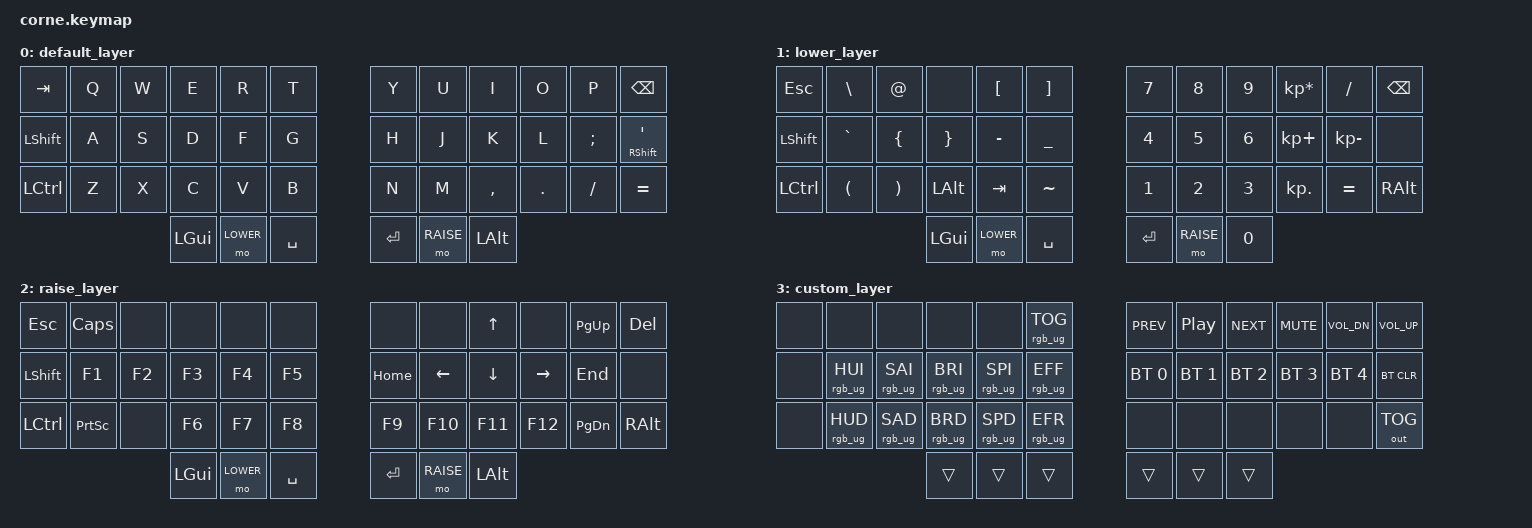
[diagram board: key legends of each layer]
/*
 * Copyright (c) 2020 The ZMK Contributors
 *
 * SPDX-License-Identifier: MIT
 */

#include <behaviors.dtsi>
#include <dt-bindings/zmk/keys.h>
#include <dt-bindings/zmk/bt.h>
#include <dt-bindings/zmk/rgb.h>
#include <dt-bindings/zmk/outputs.h>

#define DEFAULT 0
#define LOWER   1
#define RAISE   2
#define CUSTOM  3

&mt {
        tapping-term-ms = <120>;
};

&led_strip {
        chain-length = <27>;
};

/ {
        conditional_layers {
                compatible = "zmk,conditional-layers";
                custom_layer {
                        if-layers = <LOWER RAISE>;
                        then-layer = <CUSTOM>;
                };
        };

        keymap {
                compatible = "zmk,keymap";

                default_layer {
                        /*
 /* QWERTY
 * ,-----------------------------------------.                    ,-----------------------------------------.
 * | Tab  |   Q  |   W  |   E  |   R  |   T  |                    |   Y  |   U  |   I  |   O  |   P  |BackSP|
 * |------+------+------+------+------+------|                    |------+------+------+------+------+------|
 * |LShift|   A  |   S  |   D  |   F  |   G  |                    |   H  |   J  |   K  |   L  |   ;  |   ´  |
 * |------+------+------+------+------+------|                    |------+------+------+------+------+------|
 * |LCTRL |   Z  |   X  |   C  |   V  |   B  |--------.   .-------|   N  |   M  |   ,  |   .  |   /  |  +=  |
 * `-----------------------------------------/       /     \      \-----------------------------------------'
 *                          | LGUI |LOWER | /Space  /       \Enter \  |RAISE | LAlt |
 *                          |      |      |/       /         \      \ |      |      |
 *                          `---------------------'           '------''-------------'
 */
                        bindings = <
   &kp TAB   &kp Q &kp W &kp E &kp R &kp T      &kp Y &kp U  &kp I     &kp O   &kp P    &kp BSPC
   &kp LSHFT &kp A &kp S &kp D &kp F &kp G      &kp H &kp J  &kp K     &kp L   &kp SEMI &mt RSHIFT SQT
   &kp LCTRL &kp Z &kp X &kp C &kp V &kp B      &kp N &kp M  &kp COMMA &kp DOT &kp FSLH &kp EQUAL
                &kp LGUI &mo LOWER &kp SPACE   &kp RET &mo RAISE &kp LALT
                        >;
                };
                lower_layer {
/* LOWER
 * ,-----------------------------------------.                    ,-----------------------------------------.
 * | ESC  |  \   |   @  |      |  [{  |  }]  |                    |  7&  |  8*  |  9(  |   *  |   /  |BackSP|
 * |------+------+------+------+------+------|                    |------+------+------+------+------+------|
 * |LShift|  `   |   {  |  }   |   -  |   _  |                    |  4$  |  5%  |  6^  |   +  |   -  |      |
 * |------+------+------+------+------+------|                    |------+------+------+------+------+------|
 * |LCTRL |  (   |   )  | LALT |  TAB |   ~  |--------.    .------|   1! |  2@  |  3#  |   .  |   =  | RALT |
 * `-----------------------------------------/       /     \      \-----------------------------------------'
 *                          | LGUI |LOWER | /Space  /       \Enter \  |RAISE |  0)   |
 *                          |      |      |/       /         \      \ |      |       |
 *                          `---------------------'           '------''--------------'
 */
                        bindings = <
   &kp ESC    &kp BSLH   &kp AT         &none            &kp LBKT     &kp RBKT                   &kp N7   &kp N8   &kp N9  &kp KP_ASTERISK &kp FSLH     &kp BSPC
   &kp LSHFT  &kp GRAVE  &kp LEFT_BRACE &kp RIGHT_BRACE  &kp MINUS    &kp UNDER                  &kp N4   &kp N5   &kp N6  &kp KP_PLUS     &kp KP_MINUS &none
   &kp LCTRL  &kp LPAR   &kp RPAR       &kp LALT         &kp TAB      &kp TILDE                  &kp N1   &kp N2   &kp N3  &kp KP_DOT      &kp EQUAL    &kp RALT
                                         &kp LGUI &mo LOWER &kp SPACE      &kp RET &mo RAISE &kp N0
                        >;
                };

                raise_layer {
/* RAISE
 * ,-------------------------------------------.                    ,-----------------------------------------.
 * | Esc  |CAPSLOCK|      |      |      |      |                    |      |      |  UP  |      |PG_UP | DEL  |
 * |------+--------+------+------+------+------|                    |------+------+------+------+------+------|
 * |LShift|   F1   |  F2  |  F3  | F4   | F5   |                    | HOME | LEFT | DOWN |RIGHT | END  |      |
 * |------+--------+------+------+------+------|                    |------+------+------+------+------+------|
 * |LCTRL |  PSCRN |      |  F6  |  F7  |  F8  |--------.   .-------|  F9  | F10  | F11  | F12  |PG_DN | RALT |
 * `-----------------------------------------/       /     \      \-----------------------------------------'
 *                          | LGUI |LOWER | /Space  /       \Enter \  |RAISE | LAlt |
 *                          |      |      |/       /         \      \ |      |      |
 *                          `---------------------'           '------''-------------'
 */
                        bindings = <
   &kp ESC   &kp CAPSLOCK &none     &none    &none    &none                 &none     &none     &kp UP    &none     &kp PG_UP &kp DEL
   &kp LSHFT &kp F1       &kp F2    &kp F3   &kp F4   &kp F5                &kp HOME  &kp LEFT  &kp DOWN  &kp RIGHT &kp END   &none 
   &kp LCTRL &kp PSCRN    &none     &kp F6   &kp F7   &kp F8                &kp F9    &kp F10   &kp F11   &kp F12   &kp PG_DN &kp RALT
                                   &kp LGUI &mo LOWER &kp SPACE         &kp RET &mo RAISE &kp LALT
                        >;
                };

                custom_layer {
/* CUSTOM
 * ,----------------------------------------------.                    ,------------------------------------------.
 * |      |       |       |       |       |RGB_TOG|                    | PREV |PL/STP| NEXT | MUTE | VOL -| VOL + |
 * |------+-------+-------+-------+-------+-------|                    |------+------+------+------+------+-------|
 * |      |RGB_HUI|RGB_SAI|RGB_BRI|RGB_SPI|RGB_EFF|                    |  BT1 |  BT2 |  BT3 |  BT4 | BT5  |BT-CLR |
 * |------+-------+-------+-------+-------+-------|                    |------+------+------+------+------+-------|
 * |      |RGB_HUD|RGB_SAD|RGB_BRD|RGB_SPD|RGB_EFR|--------.   .-------|      |      |      |      |      |OUT_TOG|
 * `----------------------------------------------/       /     \      \------------------------------------------'
 *                               |      |      | /       /       \      \  |      |      |
 *                               |      |      |/       /         \      \ |      |      |
 *                               `---------------------'           '------''-------------'
 */
                        bindings = <
   &none   &none            &none              &none           &none           &rgb_ug RGB_TOG                   &kp C_PREV    &kp C_PP      &kp C_NEXT    &kp C_MUTE    &kp C_VOL_DN      &kp C_VOL_UP
   &none   &rgb_ug RGB_HUI  &rgb_ug RGB_SAI    &rgb_ug RGB_BRI &rgb_ug RGB_SPI &rgb_ug RGB_EFF                   &bt BT_SEL 0  &bt BT_SEL 1  &bt BT_SEL 2  &bt BT_SEL 3  &bt BT_SEL 4      &bt BT_CLR
   &none   &rgb_ug RGB_HUD  &rgb_ug RGB_SAD    &rgb_ug RGB_BRD &rgb_ug RGB_SPD &rgb_ug RGB_EFR                   &none         &none         &none         &none         &none             &out OUT_TOG
                                                                            &trans   &trans   &trans          &trans    &trans     &trans 
                        >;
                };
        };

};
